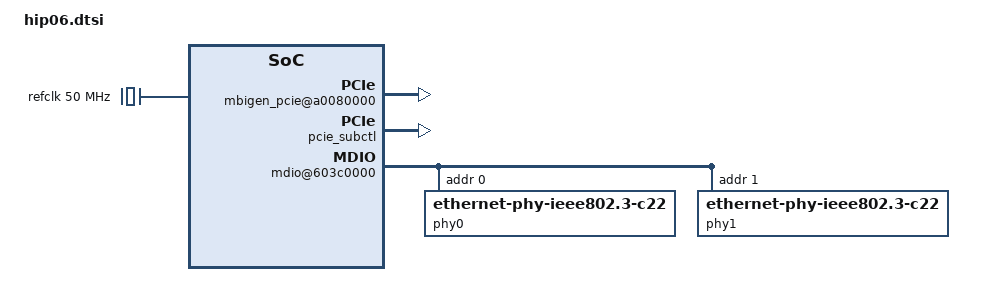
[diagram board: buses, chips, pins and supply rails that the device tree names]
// SPDX-License-Identifier: GPL-2.0-only
/**
 * dts file for Hisilicon D03 Development Board
 *
 * Copyright (C) 2016 HiSilicon Ltd.
 */

#include <dt-bindings/interrupt-controller/arm-gic.h>

/ {
	compatible = "hisilicon,hip06-d03";
	interrupt-parent = <&gic>;
	#address-cells = <2>;
	#size-cells = <2>;

	psci {
		compatible = "arm,psci-0.2";
		method = "smc";
	};

	cpus {
		#address-cells = <1>;
		#size-cells = <0>;

		cpu-map {
			cluster0 {
				core0 {
					cpu = <&cpu0>;
				};
				core1 {
					cpu = <&cpu1>;
				};
				core2 {
					cpu = <&cpu2>;
				};
				core3 {
					cpu = <&cpu3>;
				};
			};
			cluster1 {
				core0 {
					cpu = <&cpu4>;
				};
				core1 {
					cpu = <&cpu5>;
				};
				core2 {
					cpu = <&cpu6>;
				};
				core3 {
					cpu = <&cpu7>;
				};
			};
			cluster2 {
				core0 {
					cpu = <&cpu8>;
				};
				core1 {
					cpu = <&cpu9>;
				};
				core2 {
					cpu = <&cpu10>;
				};
				core3 {
					cpu = <&cpu11>;
				};
			};
			cluster3 {
				core0 {
					cpu = <&cpu12>;
				};
				core1 {
					cpu = <&cpu13>;
				};
				core2 {
					cpu = <&cpu14>;
				};
				core3 {
					cpu = <&cpu15>;
				};
			};
		};

		cpu0: cpu@10000 {
			device_type = "cpu";
			compatible = "arm,cortex-a57";
			reg = <0x10000>;
			enable-method = "psci";
			next-level-cache = <&cluster0_l2>;
		};

		cpu1: cpu@10001 {
			device_type = "cpu";
			compatible = "arm,cortex-a57";
			reg = <0x10001>;
			enable-method = "psci";
			next-level-cache = <&cluster0_l2>;
		};

		cpu2: cpu@10002 {
			device_type = "cpu";
			compatible = "arm,cortex-a57";
			reg = <0x10002>;
			enable-method = "psci";
			next-level-cache = <&cluster0_l2>;
		};

		cpu3: cpu@10003 {
			device_type = "cpu";
			compatible = "arm,cortex-a57";
			reg = <0x10003>;
			enable-method = "psci";
			next-level-cache = <&cluster0_l2>;
		};

		cpu4: cpu@10100 {
			device_type = "cpu";
			compatible = "arm,cortex-a57";
			reg = <0x10100>;
			enable-method = "psci";
			next-level-cache = <&cluster1_l2>;
		};

		cpu5: cpu@10101 {
			device_type = "cpu";
			compatible = "arm,cortex-a57";
			reg = <0x10101>;
			enable-method = "psci";
			next-level-cache = <&cluster1_l2>;
		};

		cpu6: cpu@10102 {
			device_type = "cpu";
			compatible = "arm,cortex-a57";
			reg = <0x10102>;
			enable-method = "psci";
			next-level-cache = <&cluster1_l2>;
		};

		cpu7: cpu@10103 {
			device_type = "cpu";
			compatible = "arm,cortex-a57";
			reg = <0x10103>;
			enable-method = "psci";
			next-level-cache = <&cluster1_l2>;
		};

		cpu8: cpu@10200 {
			device_type = "cpu";
			compatible = "arm,cortex-a57";
			reg = <0x10200>;
			enable-method = "psci";
			next-level-cache = <&cluster2_l2>;
		};

		cpu9: cpu@10201 {
			device_type = "cpu";
			compatible = "arm,cortex-a57";
			reg = <0x10201>;
			enable-method = "psci";
			next-level-cache = <&cluster2_l2>;
		};

		cpu10: cpu@10202 {
			device_type = "cpu";
			compatible = "arm,cortex-a57";
			reg = <0x10202>;
			enable-method = "psci";
			next-level-cache = <&cluster2_l2>;
		};

		cpu11: cpu@10203 {
			device_type = "cpu";
			compatible = "arm,cortex-a57";
			reg = <0x10203>;
			enable-method = "psci";
			next-level-cache = <&cluster2_l2>;
		};

		cpu12: cpu@10300 {
			device_type = "cpu";
			compatible = "arm,cortex-a57";
			reg = <0x10300>;
			enable-method = "psci";
			next-level-cache = <&cluster3_l2>;
		};

		cpu13: cpu@10301 {
			device_type = "cpu";
			compatible = "arm,cortex-a57";
			reg = <0x10301>;
			enable-method = "psci";
			next-level-cache = <&cluster3_l2>;
		};

		cpu14: cpu@10302 {
			device_type = "cpu";
			compatible = "arm,cortex-a57";
			reg = <0x10302>;
			enable-method = "psci";
			next-level-cache = <&cluster3_l2>;
		};

		cpu15: cpu@10303 {
			device_type = "cpu";
			compatible = "arm,cortex-a57";
			reg = <0x10303>;
			enable-method = "psci";
			next-level-cache = <&cluster3_l2>;
		};

		cluster0_l2: l2-cache0 {
			compatible = "cache";
			cache-level = <2>;
			cache-unified;
		};

		cluster1_l2: l2-cache1 {
			compatible = "cache";
			cache-level = <2>;
			cache-unified;
		};

		cluster2_l2: l2-cache2 {
			compatible = "cache";
			cache-level = <2>;
			cache-unified;
		};

		cluster3_l2: l2-cache3 {
			compatible = "cache";
			cache-level = <2>;
			cache-unified;
		};
	};

	gic: interrupt-controller@4d000000 {
		compatible = "arm,gic-v3";
		#interrupt-cells = <3>;
		#address-cells = <2>;
		#size-cells = <2>;
		ranges;
		interrupt-controller;
		#redistributor-regions = <1>;
		redistributor-stride = <0x0 0x30000>;
		reg = <0x0 0x4d000000 0 0x10000>,	/* GICD */
		      <0x0 0x4d100000 0 0x300000>,	/* GICR */
		      <0x0 0xfe000000 0 0x10000>,	/* GICC */
		      <0x0 0xfe010000 0 0x10000>,       /* GICH */
		      <0x0 0xfe020000 0 0x10000>;       /* GICV */
		interrupts = <GIC_PPI 9 IRQ_TYPE_LEVEL_HIGH>;

		its_dsa: msi-controller@c6000000 {
			compatible = "arm,gic-v3-its";
			msi-controller;
			#msi-cells = <1>;
			reg = <0x0 0xc6000000 0x0 0x40000>;
		};
	};

	timer {
		compatible = "arm,armv8-timer";
		interrupts = <GIC_PPI 13 IRQ_TYPE_LEVEL_LOW>,
			     <GIC_PPI 14 IRQ_TYPE_LEVEL_LOW>,
			     <GIC_PPI 11 IRQ_TYPE_LEVEL_LOW>,
			     <GIC_PPI 10 IRQ_TYPE_LEVEL_LOW>;
	};

	pmu {
		compatible = "arm,cortex-a57-pmu";
		interrupts = <GIC_PPI 7 IRQ_TYPE_LEVEL_HIGH>;
	};

	mbigen_pcie@a0080000 {
		compatible = "hisilicon,mbigen-v2";
		reg = <0x0 0xa0080000 0x0 0x10000>;

		mbigen_usb: intc_usb {
			msi-parent = <&its_dsa 0x40080>;
			interrupt-controller;
			#interrupt-cells = <2>;
			num-pins = <2>;
		};

		mbigen_sas1: intc_sas1 {
			msi-parent = <&its_dsa 0x40000>;
			interrupt-controller;
			#interrupt-cells = <2>;
			num-pins = <128>;
		};

		mbigen_sas2: intc_sas2 {
			msi-parent = <&its_dsa 0x40040>;
			interrupt-controller;
			#interrupt-cells = <2>;
			num-pins = <128>;
		};

		mbigen_pcie0: intc_pcie0 {
			msi-parent = <&its_dsa 0x40085>;
			interrupt-controller;
			#interrupt-cells = <2>;
			num-pins = <10>;
		};
	};

	mbigen_dsa@c0080000 {
		compatible = "hisilicon,mbigen-v2";
		reg = <0x0 0xc0080000 0x0 0x10000>;

		mbigen_dsaf0: intc_dsaf0 {
			msi-parent = <&its_dsa 0x40800>;
			interrupt-controller;
			#interrupt-cells = <2>;
			num-pins = <409>;
		};

		mbigen_sas0: intc-sas0 {
			msi-parent = <&its_dsa 0x40900>;
			interrupt-controller;
			#interrupt-cells = <2>;
			num-pins = <128>;
		};
	};

	/**
	 *  HiSilicon erratum 161010801: This describes the limitation
	 *  of HiSilicon platforms hip06/hip07 to support the SMMUv3
	 *  mappings for PCIe MSI transactions.
	 *  PCIe controller on these platforms has to differentiate the
	 *  MSI payload against other DMA payload and has to modify the
	 *  MSI payload. This makes it difficult for these platforms to
	 *  have a SMMU translation for MSI. In order to workaround this,
	 *  ARM SMMUv3 driver requires a quirk to treat the MSI regions
	 *  separately. Such a quirk is currently missing for DT based
	 *  systems. Hence please make sure that the smmu pcie node on
	 *  hip06 is disabled as this will break the PCIe functionality
	 *  when iommu-map entry is used along with the PCIe node.
	 *  Refer:https://www.spinics.net/lists/arm-kernel/msg602812.html
	 */
	smmu0: iommu@a0040000 {
		compatible = "arm,smmu-v3";
		reg = <0x0 0xa0040000 0x0 0x20000>;
		#iommu-cells = <1>;
		dma-coherent;
		hisilicon,broken-prefetch-cmd;
		status = "disabled";
	};

	soc {
		compatible = "simple-bus";
		#address-cells = <2>;
		#size-cells = <2>;
		ranges;

		isa@a01b0000 {
			compatible = "hisilicon,hip06-lpc";
			#size-cells = <1>;
			#address-cells = <2>;
			reg = <0x0 0xa01b0000 0x0 0x1000>;

			ipmi0: bt@e4 {
				compatible = "ipmi-bt";
				device_type = "ipmi";
				reg = <0x01 0xe4 0x04>;
				status = "disabled";
			};

			uart0: serial@2f8 {
				compatible = "ns16550a";
				clock-frequency = <1843200>;
				reg = <0x01 0x2f8 0x08>;
				status = "disabled";
			};
		};

		refclk: refclk {
			compatible = "fixed-clock";
			clock-frequency = <50000000>;
			#clock-cells = <0>;
		};

		usb_ohci: usb@a7030000 {
			compatible = "generic-ohci";
			reg = <0x0 0xa7030000 0x0 0x10000>;
			interrupt-parent = <&mbigen_usb>;
			interrupts = <640 4>;
			dma-coherent;
			status = "disabled";
		};

		usb_ehci: usb@a7020000 {
			compatible = "generic-ehci";
			reg = <0x0 0xa7020000 0x0 0x10000>;
			interrupt-parent = <&mbigen_usb>;
			interrupts = <641 4>;
			dma-coherent;
			status = "disabled";
		};

		peri_c_subctrl: sub_ctrl_c@60000000 {
			compatible = "hisilicon,peri-subctrl","syscon";
			reg = <0 0x60000000 0x0 0x10000>;
		};

		dsa_subctrl: dsa_subctrl@c0000000 {
			compatible = "hisilicon,dsa-subctrl", "syscon";
			reg = <0x0 0xc0000000 0x0 0x10000>;
		};

		pcie_subctl: pcie_subctl@a0000000 {
			compatible = "hisilicon,pcie-sas-subctrl", "syscon";
			reg = <0x0 0xa0000000 0x0 0x10000>;
		};

		serdes_ctrl: sds_ctrl@c2200000 {
			compatible = "syscon";
			reg = <0 0xc2200000 0x0 0x80000>;
		};

		mdio@603c0000 {
			compatible = "hisilicon,hns-mdio";
			reg = <0x0 0x603c0000 0x0 0x1000>;
			subctrl-vbase = <&peri_c_subctrl 0x338 0xa38 0x531c 0x5a1c>;
			#address-cells = <1>;
			#size-cells = <0>;

			phy0: ethernet-phy@0 {
				compatible = "ethernet-phy-ieee802.3-c22";
				reg = <0>;
			};

			phy1: ethernet-phy@1 {
				compatible = "ethernet-phy-ieee802.3-c22";
				reg = <1>;
			};
		};

		dsaf0: dsa@c7000000 {
			#address-cells = <1>;
			#size-cells = <0>;
			compatible = "hisilicon,hns-dsaf-v2";
			mode = "6port-16rss";
			reg = <0x0 0xc5000000 0x0 0x890000>,
			      <0x0 0xc7000000 0x0 0x600000>;
			reg-names = "ppe-base", "dsaf-base";
			interrupt-parent = <&mbigen_dsaf0>;
			subctrl-syscon = <&dsa_subctrl>;
			reset-field-offset = <0>;
			interrupts =
			<576 1>, <577 1>, <578 1>, <579 1>, <580 1>,
			<581 1>, <582 1>, <583 1>, <584 1>, <585 1>,
			<586 1>, <587 1>, <588 1>, <589 1>, <590 1>,
			<591 1>, <592 1>, <593 1>, <594 1>, <595 1>,
			<596 1>, <597 1>, <598 1>, <599 1>, <600 1>,
			<960 1>, <961 1>, <962 1>, <963 1>, <964 1>,
			<965 1>, <966 1>, <967 1>, <968 1>, <969 1>,
			<970 1>, <971 1>, <972 1>, <973 1>, <974 1>,
			<975 1>, <976 1>, <977 1>, <978 1>, <979 1>,
			<980 1>, <981 1>, <982 1>, <983 1>, <984 1>,
			<985 1>, <986 1>, <987 1>, <988 1>, <989 1>,
			<990 1>, <991 1>, <992 1>, <993 1>, <994 1>,
			<995 1>, <996 1>, <997 1>, <998 1>, <999 1>,
			<1000 1>, <1001 1>, <1002 1>, <1003 1>, <1004 1>,
			<1005 1>, <1006 1>, <1007 1>, <1008 1>, <1009 1>,
			<1010 1>, <1011 1>, <1012 1>, <1013 1>, <1014 1>,
			<1015 1>, <1016 1>, <1017 1>, <1018 1>, <1019 1>,
			<1020 1>, <1021 1>, <1022 1>, <1023 1>, <1024 1>,
			<1025 1>, <1026 1>, <1027 1>, <1028 1>, <1029 1>,
			<1030 1>, <1031 1>, <1032 1>, <1033 1>, <1034 1>,
			<1035 1>, <1036 1>, <1037 1>, <1038 1>, <1039 1>,
			<1040 1>, <1041 1>, <1042 1>, <1043 1>, <1044 1>,
			<1045 1>, <1046 1>, <1047 1>, <1048 1>, <1049 1>,
			<1050 1>, <1051 1>, <1052 1>, <1053 1>, <1054 1>,
			<1055 1>, <1056 1>, <1057 1>, <1058 1>, <1059 1>,
			<1060 1>, <1061 1>, <1062 1>, <1063 1>, <1064 1>,
			<1065 1>, <1066 1>, <1067 1>, <1068 1>, <1069 1>,
			<1070 1>, <1071 1>, <1072 1>, <1073 1>, <1074 1>,
			<1075 1>, <1076 1>, <1077 1>, <1078 1>, <1079 1>,
			<1080 1>, <1081 1>, <1082 1>, <1083 1>, <1084 1>,
			<1085 1>, <1086 1>, <1087 1>, <1088 1>, <1089 1>,
			<1090 1>, <1091 1>, <1092 1>, <1093 1>, <1094 1>,
			<1095 1>, <1096 1>, <1097 1>, <1098 1>, <1099 1>,
			<1100 1>, <1101 1>, <1102 1>, <1103 1>, <1104 1>,
			<1105 1>, <1106 1>, <1107 1>, <1108 1>, <1109 1>,
			<1110 1>, <1111 1>, <1112 1>, <1113 1>, <1114 1>,
			<1115 1>, <1116 1>, <1117 1>, <1118 1>, <1119 1>,
			<1120 1>, <1121 1>, <1122 1>, <1123 1>, <1124 1>,
			<1125 1>, <1126 1>, <1127 1>, <1128 1>, <1129 1>,
			<1130 1>, <1131 1>, <1132 1>, <1133 1>, <1134 1>,
			<1135 1>, <1136 1>, <1137 1>, <1138 1>, <1139 1>,
			<1140 1>, <1141 1>, <1142 1>, <1143 1>, <1144 1>,
			<1145 1>, <1146 1>, <1147 1>, <1148 1>, <1149 1>,
			<1150 1>, <1151 1>, <1152 1>, <1153 1>, <1154 1>,
			<1155 1>, <1156 1>, <1157 1>, <1158 1>, <1159 1>,
			<1160 1>, <1161 1>, <1162 1>, <1163 1>, <1164 1>,
			<1165 1>, <1166 1>, <1167 1>, <1168 1>, <1169 1>,
			<1170 1>, <1171 1>, <1172 1>, <1173 1>, <1174 1>,
			<1175 1>, <1176 1>, <1177 1>, <1178 1>, <1179 1>,
			<1180 1>, <1181 1>, <1182 1>, <1183 1>, <1184 1>,
			<1185 1>, <1186 1>, <1187 1>, <1188 1>, <1189 1>,
			<1190 1>, <1191 1>, <1192 1>, <1193 1>, <1194 1>,
			<1195 1>, <1196 1>, <1197 1>, <1198 1>, <1199 1>,
			<1200 1>, <1201 1>, <1202 1>, <1203 1>, <1204 1>,
			<1205 1>, <1206 1>, <1207 1>, <1208 1>, <1209 1>,
			<1210 1>, <1211 1>, <1212 1>, <1213 1>, <1214 1>,
			<1215 1>, <1216 1>, <1217 1>, <1218 1>, <1219 1>,
			<1220 1>, <1221 1>, <1222 1>, <1223 1>, <1224 1>,
			<1225 1>, <1226 1>, <1227 1>, <1228 1>, <1229 1>,
			<1230 1>, <1231 1>, <1232 1>, <1233 1>, <1234 1>,
			<1235 1>, <1236 1>, <1237 1>, <1238 1>, <1239 1>,
			<1240 1>, <1241 1>, <1242 1>, <1243 1>, <1244 1>,
			<1245 1>, <1246 1>, <1247 1>, <1248 1>, <1249 1>,
			<1250 1>, <1251 1>, <1252 1>, <1253 1>, <1254 1>,
			<1255 1>, <1256 1>, <1257 1>, <1258 1>, <1259 1>,
			<1260 1>, <1261 1>, <1262 1>, <1263 1>, <1264 1>,
			<1265 1>, <1266 1>, <1267 1>, <1268 1>, <1269 1>,
			<1270 1>, <1271 1>, <1272 1>, <1273 1>, <1274 1>,
			<1275 1>, <1276 1>, <1277 1>, <1278 1>, <1279 1>,
			<1280 1>, <1281 1>, <1282 1>, <1283 1>, <1284 1>,
			<1285 1>, <1286 1>, <1287 1>, <1288 1>, <1289 1>,
			<1290 1>, <1291 1>, <1292 1>, <1293 1>, <1294 1>,
			<1295 1>, <1296 1>, <1297 1>, <1298 1>, <1299 1>,
			<1300 1>, <1301 1>, <1302 1>, <1303 1>, <1304 1>,
			<1305 1>, <1306 1>, <1307 1>, <1308 1>, <1309 1>,
			<1310 1>, <1311 1>, <1312 1>, <1313 1>, <1314 1>,
			<1315 1>, <1316 1>, <1317 1>, <1318 1>, <1319 1>,
			<1320 1>, <1321 1>, <1322 1>, <1323 1>, <1324 1>,
			<1325 1>, <1326 1>, <1327 1>, <1328 1>, <1329 1>,
			<1330 1>, <1331 1>, <1332 1>, <1333 1>, <1334 1>,
			<1335 1>, <1336 1>, <1337 1>, <1338 1>, <1339 1>,
			<1340 1>, <1341 1>, <1342 1>, <1343 1>;

			desc-num = <0x400>;
			buf-size = <0x1000>;
			dma-coherent;

			port@0 {
				reg = <0>;
				serdes-syscon = <&serdes_ctrl>;
				port-rst-offset = <0>;
				port-mode-offset = <0>;
				media-type = "fiber";
			};

			port@1 {
				reg = <1>;
				serdes-syscon = <&serdes_ctrl>;
				port-rst-offset = <1>;
				port-mode-offset = <1>;
				media-type = "fiber";
			};

			port@4 {
				reg = <4>;
				phy-handle = <&phy0>;
				serdes-syscon = <&serdes_ctrl>;
				port-rst-offset = <4>;
				port-mode-offset = <2>;
				media-type = "copper";
			};

			port@5 {
				reg = <5>;
				phy-handle = <&phy1>;
				serdes-syscon = <&serdes_ctrl>;
				port-rst-offset = <5>;
				port-mode-offset = <3>;
				media-type = "copper";
			};
		};

		eth0: ethernet-4 {
			compatible = "hisilicon,hns-nic-v2";
			ae-handle = <&dsaf0>;
			port-idx-in-ae = <4>;
			local-mac-address = [00 00 00 00 00 00];
			status = "disabled";
			dma-coherent;
		};

		eth1: ethernet-5 {
			compatible = "hisilicon,hns-nic-v2";
			ae-handle = <&dsaf0>;
			port-idx-in-ae = <5>;
			local-mac-address = [00 00 00 00 00 00];
			status = "disabled";
			dma-coherent;
		};

		eth2: ethernet-0 {
			compatible = "hisilicon,hns-nic-v2";
			ae-handle = <&dsaf0>;
			port-idx-in-ae = <0>;
			local-mac-address = [00 00 00 00 00 00];
			status = "disabled";
			dma-coherent;
		};

		eth3: ethernet-1 {
			compatible = "hisilicon,hns-nic-v2";
			ae-handle = <&dsaf0>;
			port-idx-in-ae = <1>;
			local-mac-address = [00 00 00 00 00 00];
			status = "disabled";
			dma-coherent;
		};

		sas0: sas@c3000000 {
			compatible = "hisilicon,hip06-sas-v2";
			reg = <0 0xc3000000 0 0x10000>;
			sas-addr = [50 01 88 20 16 00 00 00];
			hisilicon,sas-syscon = <&dsa_subctrl>;
			ctrl-reset-reg = <0xa60>;
			ctrl-reset-sts-reg = <0x5a30>;
			ctrl-clock-ena-reg = <0x338>;
			clocks = <&refclk 0>;
			queue-count = <16>;
			phy-count = <8>;
			dma-coherent;
			interrupt-parent = <&mbigen_sas0>;
			interrupts = <64 4>,<65 4>,<66 4>,<67 4>,<68 4>,
				     <69 4>,<70 4>,<71 4>,<72 4>,<73 4>,
				     <75 4>,<76 4>,<77 4>,<78 4>,<79 4>,
				     <80 4>,<81 4>,<82 4>,<83 4>,<84 4>,
				     <85 4>,<86 4>,<87 4>,<88 4>,<89 4>,
				     <90 4>,<91 4>,<92 4>,<93 4>,<94 4>,
				     <95 4>,<96 4>,<97 4>,<98 4>,<99 4>,
				     <100 4>,<101 4>,<102 4>,<103 4>,<104 4>,
				     <105 4>,<106 4>,<107 4>,<108 4>,<109 4>,
				     <110 4>,<111 4>,<112 4>,<113 4>,<114 4>,
				     <115 4>,<116 4>,<117 4>,<118 4>,<119 4>,
				     <120 4>,<121 4>,<122 4>,<123 4>,<124 4>,
				     <125 4>,<126 4>,<127 4>,<128 4>,<129 4>,
				     <130 4>,<131 4>,<132 4>,<133 4>,<134 4>,
				     <135 4>,<136 4>,<137 4>,<138 4>,<139 4>,
				     <140 4>,<141 4>,<142 4>,<143 4>,<144 4>,
				     <145 4>,<146 4>,<147 4>,<148 4>,<149 4>,
				     <150 4>,<151 4>,<152 4>,<153 4>,<154 4>,
				     <155 4>,<156 4>,<157 4>,<158 4>,<159 4>,
				     <160 4>,<601 1>,<602 1>,<603 1>,<604 1>,
				     <605 1>,<606 1>,<607 1>,<608 1>,<609 1>,
				     <610 1>,<611 1>,<612 1>,<613 1>,<614 1>,
				     <615 1>,<616 1>,<617 1>,<618 1>,<619 1>,
				     <620 1>,<621 1>,<622 1>,<623 1>,<624 1>,
				     <625 1>,<626 1>,<627 1>,<628 1>,<629 1>,
				     <630 1>,<631 1>,<632 1>;
			status = "disabled";
		};

		sas1: sas@a2000000 {
			compatible = "hisilicon,hip06-sas-v2";
			reg = <0 0xa2000000 0 0x10000>;
			sas-addr = [50 01 88 20 16 00 00 00];
			hisilicon,sas-syscon = <&pcie_subctl>;
			hip06-sas-v2-quirk-amt;
			ctrl-reset-reg = <0xa18>;
			ctrl-reset-sts-reg = <0x5a0c>;
			ctrl-clock-ena-reg = <0x318>;
			clocks = <&refclk 0>;
			queue-count = <16>;
			phy-count = <8>;
			dma-coherent;
			interrupt-parent = <&mbigen_sas1>;
			interrupts = <64 4>,<65 4>,<66 4>,<67 4>,<68 4>,
				     <69 4>,<70 4>,<71 4>,<72 4>,<73 4>,
				     <74 4>,<75 4>,<76 4>,<77 4>,<78 4>,
				     <79 4>,<80 4>,<81 4>,<82 4>,<83 4>,
				     <84 4>,<85 4>,<86 4>,<87 4>,<88 4>,
				     <89 4>,<90 4>,<91 4>,<92 4>,<93 4>,
				     <94 4>,<95 4>,<96 4>,<97 4>,<98 4>,
				     <99 4>,<100 4>,<101 4>,<102 4>,<103 4>,
				     <104 4>,<105 4>,<106 4>,<107 4>,<108 4>,
				     <109 4>,<110 4>,<111 4>,<112 4>,<113 4>,
				     <114 4>,<115 4>,<116 4>,<117 4>,<118 4>,
				     <119 4>,<120 4>,<121 4>,<122 4>,<123 4>,
				     <124 4>,<125 4>,<126 4>,<127 4>,<128 4>,
				     <129 4>,<130 4>,<131 4>,<132 4>,<133 4>,
				     <134 4>,<135 4>,<136 4>,<137 4>,<138 4>,
				     <139 4>,<140 4>,<141 4>,<142 4>,<143 4>,
				     <144 4>,<145 4>,<146 4>,<147 4>,<148 4>,
				     <149 4>,<150 4>,<151 4>,<152 4>,<153 4>,
				     <154 4>,<155 4>,<156 4>,<157 4>,<158 4>,
				     <159 4>,<576 1>,<577 1>,<578 1>,<579 1>,
				     <580 1>,<581 1>,<582 1>,<583 1>,<584 1>,
				     <585 1>,<586 1>,<587 1>,<588 1>,<589 1>,
				     <590 1>,<591 1>,<592 1>,<593 1>,<594 1>,
				     <595 1>,<596 1>,<597 1>,<598 1>,<599 1>,
				     <600 1>,<601 1>,<602 1>,<603 1>,<604 1>,
				     <605 1>,<606 1>,<607 1>;
			status = "disabled";
		};

		sas2: sas@a3000000 {
			compatible = "hisilicon,hip06-sas-v2";
			reg = <0 0xa3000000 0 0x10000>;
			sas-addr = [50 01 88 20 16 00 00 00];
			hisilicon,sas-syscon = <&pcie_subctl>;
			ctrl-reset-reg = <0xae0>;
			ctrl-reset-sts-reg = <0x5a70>;
			ctrl-clock-ena-reg = <0x3a8>;
			clocks = <&refclk 0>;
			queue-count = <16>;
			phy-count = <9>;
			dma-coherent;
			interrupt-parent = <&mbigen_sas2>;
			interrupts = <192 4>,<193 4>,<194 4>,<195 4>,<196 4>,
				     <197 4>,<198 4>,<199 4>,<200 4>,<201 4>,
				     <202 4>,<203 4>,<204 4>,<205 4>,<206 4>,
				     <207 4>,<208 4>,<209 4>,<210 4>,<211 4>,
				     <212 4>,<213 4>,<214 4>,<215 4>,<216 4>,
				     <217 4>,<218 4>,<219 4>,<220 4>,<221 4>,
				     <222 4>,<223 4>,<224 4>,<225 4>,<226 4>,
				     <227 4>,<228 4>,<229 4>,<230 4>,<231 4>,
				     <232 4>,<233 4>,<234 4>,<235 4>,<236 4>,
				     <237 4>,<238 4>,<239 4>,<240 4>,<241 4>,
				     <242 4>,<243 4>,<244 4>,<245 4>,<246 4>,
				     <247 4>,<248 4>,<249 4>,<250 4>,<251 4>,
				     <252 4>,<253 4>,<254 4>,<255 4>,<256 4>,
				     <257 4>,<258 4>,<259 4>,<260 4>,<261 4>,
				     <262 4>,<263 4>,<264 4>,<265 4>,<266 4>,
				     <267 4>,<268 4>,<269 4>,<270 4>,<271 4>,
				     <272 4>,<273 4>,<274 4>,<275 4>,<276 4>,
				     <277 4>,<278 4>,<279 4>,<280 4>,<281 4>,
				     <282 4>,<283 4>,<284 4>,<285 4>,<286 4>,
				     <287 4>,<608 1>,<609 1>,<610 1>,<611 1>,
				     <612 1>,<613 1>,<614 1>,<615 1>,<616 1>,
				     <617 1>,<618 1>,<619 1>,<620 1>,<621 1>,
				     <622 1>,<623 1>,<624 1>,<625 1>,<626 1>,
				     <627 1>,<628 1>,<629 1>,<630 1>,<631 1>,
				     <632 1>,<633 1>,<634 1>,<635 1>,<636 1>,
				     <637 1>,<638 1>,<639 1>;
			status = "disabled";
		};

		pcie0: pcie@a0090000 {
			compatible = "hisilicon,hip06-pcie-ecam";
			reg = <0 0xb0000000 0 0x2000000>,
			      <0 0xa0090000 0 0x10000>;
			bus-range = <0  31>;
			msi-map = <0x0000 &its_dsa 0x0000 0x2000>;
			msi-map-mask = <0xffff>;
			#address-cells = <3>;
			#size-cells = <2>;
			device_type = "pci";
			dma-coherent;
			ranges = <0x02000000 0 0xb2000000 0x0 0xb2000000 0 0x5ff0000>,
				 <0x01000000 0 0 0 0xb7ff0000 0 0x10000>;
			#interrupt-cells = <1>;
			interrupt-map-mask = <0xf800 0 0 7>;
			interrupt-map = <0x0 0 0 1 &mbigen_pcie0 650 4
					0x0 0 0 2 &mbigen_pcie0 650 4
					0x0 0 0 3 &mbigen_pcie0 650 4
					0x0 0 0 4 &mbigen_pcie0 650 4>;
			status = "disabled";
		};

	};

};
